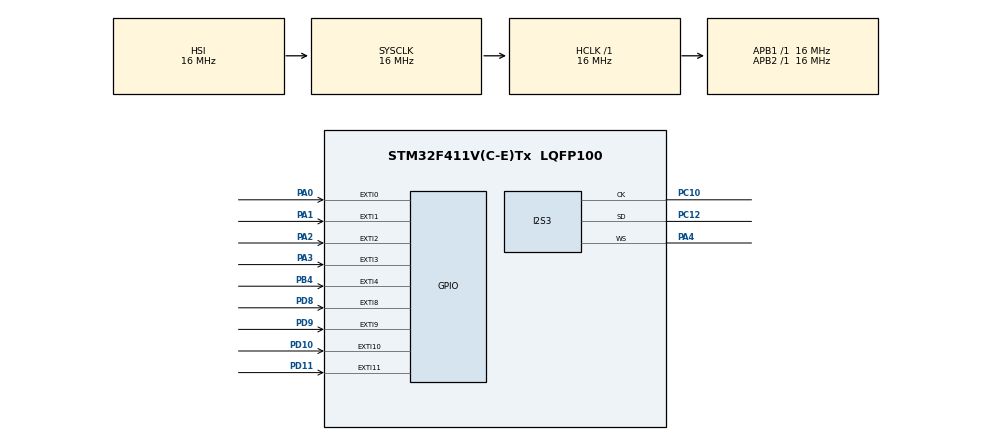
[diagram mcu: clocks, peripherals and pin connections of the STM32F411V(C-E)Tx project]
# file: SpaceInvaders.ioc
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Dma.MEMTOMEM.0.Direction=DMA_MEMORY_TO_MEMORY
Dma.MEMTOMEM.0.FIFOMode=DMA_FIFOMODE_ENABLE
Dma.MEMTOMEM.0.FIFOThreshold=DMA_FIFO_THRESHOLD_FULL
Dma.MEMTOMEM.0.Instance=DMA2_Stream0
Dma.MEMTOMEM.0.MemBurst=DMA_MBURST_SINGLE
Dma.MEMTOMEM.0.MemDataAlignment=DMA_MDATAALIGN_WORD
Dma.MEMTOMEM.0.MemInc=DMA_MINC_ENABLE
Dma.MEMTOMEM.0.Mode=DMA_NORMAL
Dma.MEMTOMEM.0.PeriphBurst=DMA_PBURST_SINGLE
Dma.MEMTOMEM.0.PeriphDataAlignment=DMA_PDATAALIGN_WORD
Dma.MEMTOMEM.0.PeriphInc=DMA_PINC_ENABLE
Dma.MEMTOMEM.0.Priority=DMA_PRIORITY_LOW
Dma.Request0=MEMTOMEM
Dma.Request1=SPI3_TX
Dma.SPI3_TX.1.Direction=DMA_MEMORY_TO_PERIPH
Dma.SPI3_TX.1.FIFOMode=DMA_FIFOMODE_DISABLE
Dma.SPI3_TX.1.Instance=DMA1_Stream5
Dma.SPI3_TX.1.MemDataAlignment=DMA_MDATAALIGN_HALFWORD
Dma.SPI3_TX.1.MemInc=DMA_MINC_ENABLE
Dma.SPI3_TX.1.Mode=DMA_NORMAL
Dma.SPI3_TX.1.PeriphDataAlignment=DMA_PDATAALIGN_HALFWORD
Dma.SPI3_TX.1.PeriphInc=DMA_PINC_DISABLE
Dma.SPI3_TX.1.Priority=DMA_PRIORITY_LOW
I2S3.ErrorAudioFreq=0.0 %
I2S3.FullDuplexMode=I2S_FULLDUPLEXMODE_DISABLE
I2S3.Instance=SPI$Index
I2S3.RealAudioFreq=8.0 KHz
I2S3.VirtualMode=I2S_MODE_MASTER
Mcu.Family=STM32F4
Mcu.Name=STM32F411V(C-E)Tx
Mcu.Package=LQFP100
NVIC.DMA1_Stream5_IRQn=true\:0\:0\:false\:false\:true\:false\:true
NVIC.DMA2_Stream0_IRQn=true\:0\:0\:false\:false\:true\:true\:true
NVIC.EXTI0_IRQn=true\:0\:0\:false\:false\:true\:true\:true
NVIC.EXTI15_10_IRQn=true\:0\:0\:false\:false\:true\:true\:true
NVIC.EXTI1_IRQn=true\:0\:0\:false\:false\:true\:true\:true
NVIC.EXTI2_IRQn=true\:0\:0\:false\:false\:true\:true\:true
NVIC.EXTI3_IRQn=true\:0\:0\:false\:false\:true\:true\:true
NVIC.EXTI4_IRQn=true\:0\:0\:false\:false\:true\:true\:true
NVIC.EXTI9_5_IRQn=true\:0\:0\:false\:false\:true\:true\:true
NVIC.PriorityGroup=NVIC_PRIORITYGROUP_4
PA0-WKUP.Signal=GPXTI0
PA1.Signal=GPXTI1
PA2.Signal=GPXTI2
PA3.Signal=GPXTI3
PA4.Mode=Half_Duplex_Master
PA4.Signal=I2S3_WS
PB4.Signal=GPXTI4
PC10.Mode=Half_Duplex_Master
PC10.Signal=I2S3_CK
PC12.Mode=Half_Duplex_Master
PC12.Signal=I2S3_SD
PD10.GPIO_ModeDefaultEXTI=GPIO_MODE_IT_RISING_FALLING
PD10.Signal=GPXTI10
PD11.GPIO_ModeDefaultEXTI=GPIO_MODE_IT_RISING_FALLING
PD11.Signal=GPXTI11
PD8.GPIO_ModeDefaultEXTI=GPIO_MODE_IT_RISING_FALLING
PD8.Signal=GPXTI8
PD9.GPIO_ModeDefaultEXTI=GPIO_MODE_IT_RISING_FALLING
PD9.Signal=GPXTI9
ProjectManager.HeapSize=0x200
ProjectManager.StackSize=0x400
ProjectManager.TargetToolchain=STM32CubeIDE
RCC.AHBFreq_Value=16000000
RCC.APB1Freq_Value=16000000
RCC.APB2Freq_Value=16000000
RCC.CortexFreq_Value=16000000
RCC.HSE_VALUE=25000000
RCC.HSI_VALUE=16000000
RCC.LSE_VALUE=32768
RCC.SYSCLKFreq_VALUE=16000000
RCC.VCOOutputFreq_Value=192000000
board=custom

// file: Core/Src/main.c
/* USER CODE BEGIN Header */
/**
 ******************************************************************************
 * @file           : main.c
 * @brief          : Main program body
 ******************************************************************************
 * @attention
 *
 * <h2><center>&copy; Copyright (c) 2020 STMicroelectronics.
 * All rights reserved.</center></h2>
 *
 * This software component is licensed by ST under BSD 3-Clause license,
 * the "License"; You may not use this file except in compliance with the
 * License. You may obtain a copy of the License at:
 *                        opensource.org/licenses/BSD-3-Clause
 *
 ******************************************************************************
 */
/* USER CODE END Header */

#include "main.h"

/* USER CODE BEGIN Includes */
#include "Sprites.h"
#include "images.h"
#include "audio.h"
#include <stdlib.h>
#include <time.h>

/* USER CODE END Includes */

I2S_HandleTypeDef hi2s3;
DMA_HandleTypeDef hdma_spi3_tx;

DMA_HandleTypeDef hdma_memtomem_dma2_stream0;

void SystemClock_Config(void);
static void MX_GPIO_Init(void);
static void MX_DMA_Init(void);
static void MX_I2S3_Init(void);

/* USER CODE BEGIN 0 */
volatile uint8_t refresh=0;
volatile uint8_t cleardone=0;

#define Screen_Start (unsigned char*)0x20020000

uint32_t *ptrsprite;

typedef struct Aliens
{

	int alienx;
	int alieny;
	int aoriginx;
	int aoriginy;
	int health;
	int amissilex;
	int amissiley;

} aliens;

aliens alien[24];

typedef struct Barriers
{

	int barrierx;
	int barriery;
	int boriginx;
	int boriginy;
	int health;

} barriers;

barriers barrierA[12];
barriers barrierB[12];
barriers barrierC[12];

typedef int Bool;

#define TRUE 1;
#define FALSE 0;

uint8_t sprites[1344];

uint8_t invaderX[24];
uint8_t invaderY[24];

int play=0;
int fire=0;
int amove = 3;
int lives=3;
int score=0;
int aliensize=24;

int cright=1;
int cleft=0;

int shot=0;
int bottom=0;
int ashot=0;

int Xpos = 160;
int Ypos = 195-23;
int Xposprev;
int Yposprev;

int invXpos=0;
int invYpos=0;
int Ylaserprev;

int amissx;
int amissy;

int ixprev=0;
int iyprev=0;
int nextrow=0;

int Xlaser;
int Ylaser;

Bool w = FALSE;
Bool a = FALSE;
Bool s = FALSE;
Bool d = FALSE;

void HAL_GPIO_EXTI_Callback(uint16_t GPIO_Pin)
{
	/* Prevent unused argument(s) compilation warning */
	UNUSED(GPIO_Pin);
	/* NOTE: This function Should not be modified, when the callback is needed,
           the HAL_GPIO_EXTI_Callback could be implemented in the user file
	 */

	if(GPIO_Pin == GPIO_PIN_3)
	{
		if(HAL_GPIO_ReadPin(GPIOA, GPIO_PIN_3)){
			play=1;
		}
	}

	if(GPIO_Pin == GPIO_PIN_0)
	{
		if(HAL_GPIO_ReadPin(GPIOA, GPIO_PIN_0)){
			fire=1;
		}
	}

	//d
	if(GPIO_Pin == GPIO_PIN_9)
	{
		if(HAL_GPIO_ReadPin(GPIOD, GPIO_PIN_9)){

			d=TRUE;
		}

		if(!HAL_GPIO_ReadPin(GPIOD, GPIO_PIN_9)){

			d=FALSE;
		}

	}

	//a
	if(GPIO_Pin == GPIO_PIN_10)
	{
		if(HAL_GPIO_ReadPin(GPIOD, GPIO_PIN_10)){

			a=TRUE;
		}

		if(!HAL_GPIO_ReadPin(GPIOD, GPIO_PIN_10)){

			a=FALSE;
		}
	}

}

/*uint8_t test3[] = {
0,0,0,0,1,1,1,1,0,0,0,0,
0,1,1,1,1,1,1,1,1,1,1,0,
1,1,1,1,1,1,1,1,1,1,1,1,
1,1,1,0,0,1,1,0,0,1,1,1,
1,1,1,1,1,1,1,1,1,1,1,1,
0,0,0,1,1,0,0,1,1,0,0,0,
0,0,1,1,0,1,1,0,1,1,0,0,
1,1,0,0,0,0,0,0,0,0,1,1
};*/

void displayscore(uint16_t val, uint32_t* screenptr)
{
	uint8_t digit = 0;
	uint32_t* digitptr;
	uint32_t* scrcopyptr;
	for (int i = 0; i < 5; i++)
	{
		digit = val % 10;
		val /= 10;

		scrcopyptr = screenptr;
		digitptr = (uint32_t*)(digits + (digit << 3));
		for (int i = 0; i < 9; i++)
		{
			for (int j = 0; j < 2; j++)
			{
				*scrcopyptr++ = *digitptr++;
			}
			digitptr += 18;
			scrcopyptr += 78;

		}
		screenptr -= 2;
	}
}

void drawSprite(unsigned char* ptr_sprite, int x, int y, int sprite_w, int sprite_h)
{
	uint32_t *ptrscreen;
	uint32_t *ptrsprite;

	//draw sprite
	ptrscreen = (uint32_t*)(0x20020000 + x+320*y);
	ptrsprite = (uint32_t*)ptr_sprite;
	for(int i = 0; i < sprite_h; i++)
	{
		for(int j = 0; j < sprite_w/4; j++)
		{
			*ptrscreen++ = *ptrsprite++;
		}
		ptrscreen += (320/4 - sprite_w/4);
	}
}

void clearSprite(unsigned char* ptr_sprite, int xprev, int yprev, int sprite_w, int sprite_h)
{
	uint32_t *ptrscreen;

	//clear sprite
	ptrscreen = (uint32_t*)(0x20020000 + xprev+320*yprev);

	for(int i = 0; i < sprite_h; i++)
	{
		for(int j = 0; j < sprite_w/4; j++)
		{
			*ptrscreen++ = 0;
		}
		ptrscreen += (320/4 - sprite_w/4);
	}
}

void  clearScreen(){
	cleardone=0;
	uint32_t* ptrscreen = (uint32_t*)0x20020000;
	*((uint32_t*)ptrscreen) = 0;

	HAL_DMA_Start_IT(&hdma_memtomem_dma2_stream0,0x20020000,0x20020004,15999);

	while(!cleardone);

}

void  updateScreen(){

	drawSprite(scoretext2, 5,1, 52, 13);
	displayscore(score, (uint32_t*)(0x2002069C));
	drawSprite(lives1, 200,1, 48, 13);
	displayscore(lives, (uint32_t*)(0x2002075B));

	drawSprite(shooter2, Xpos,Ypos, 24, 23);

}

void alienFire()
{
	int select;
	if (ashot==0)
	{

		ashot=1;

		do
		{
			select = 0 + (rand() % (24-0+1));
		}while(alien[select].health!=1);

		amissx=alien[select].alienx+2;
		amissy=alien[select].alieny;

	}

	if(ashot==1){

		amissy = amissy + 5;
		drawSprite(laser,amissx,amissy, 4, 8);
	}

	if(amissy>185)
	{
		ashot=0;
	}
}

void drawPixel(uint8_t* screenPtr, uint16_t x, uint16_t y, uint8_t colorIndex)
{
	uint8_t colorCodes[] = {48, 44, 41, 32};
	*(screenPtr+ y*320 + x) = colorCodes[colorIndex];
}

/* USER CODE END 0 */

int main(void)
{
	/* USER CODE BEGIN 1 */
	LDRSprites(sprites);

	/* USER CODE END 1 */

	/* MCU Configuration--------------------------------------------------------*/

	/* Reset of all peripherals, Initializes the Flash interface and the Systick. */
	HAL_Init();

	/* Configure the system clock */
	SystemClock_Config();

	/* Initialize all configured peripherals */
	MX_GPIO_Init();
	MX_DMA_Init();
	MX_I2S3_Init();
	/* USER CODE BEGIN 2 */

	srand(time(NULL));

	//create enemies

	for(int j = 0; j<24 ; j++){

		if(j<=5)
		{

			alien[j].alienx = 15 + j*20 ;
			alien[j].alieny = 20;
			alien[j].health=1;

		}
		if((6<=j)&&(j<=11))
		{
			alien[j].alienx = 15 + (j-6)*20 ;
			alien[j].alieny = 35;
			alien[j].health=1;

		}
		if((12<=j)&&(j<=17))
		{
			alien[j].alienx = 15 + (j-12)*20 ;
			alien[j].alieny = 50;
			alien[j].health=1;

		}
		if((18<=j)&&(j<=23))
		{
			alien[j].alienx = 15 + (j-18)*20 ;
			alien[j].alieny = 65;
			alien[j].health=1;

		}

	}

	//create bunkers

	//barrierA
	for (int j = 0; j < 12; j++)
	{

		if(j<=5)
		{
			barrierA[j].barrierx =55+j*4;
			barrierA[j].barriery =150;
			barrierA[j].health=2;
		}
		if ((6<=j)&&(j<=11))
		{
			barrierA[j].barrierx =55+(j-6)*4;
			barrierA[j].barriery =154;
			barrierA[j].health=2;
		}

	}

	//barrierB
	for (int j = 0; j < 12; j++)
	{

		if(j<=5)
		{
			barrierB[j].barrierx =160+j*4;
			barrierB[j].barriery =150;
			barrierB[j].health=2;
		}
		if ((6<=j)&&(j<=11))
		{
			barrierB[j].barrierx =160+(j-6)*4;
			barrierB[j].barriery =154;
			barrierB[j].health=2;
		}

	}

	//barrierC
	for (int j = 0; j < 12; j++)
	{

		if(j<=5)
		{
			barrierC[j].barrierx =265+j*4;
			barrierC[j].barriery =150;
			barrierC[j].health=2;
		}
		if ((6<=j)&&(j<=11))
		{
			barrierC[j].barrierx =265+(j-6)*4;
			barrierC[j].barriery =154;
			barrierC[j].health=2;
		}

	}

	while(!play)
	{
		drawSprite(background,0,0, 320, 200);
	}
	clearSprite(background,0,0, 320, 200);

	/* USER CODE END 2 */

	/* Infinite loop */
	/* USER CODE BEGIN WHILE */
	while (1)
	{

		if((!bottom)&&(alien!=0)&&(lives>0))
		{
			if(refresh)
			{
				clearScreen();
				updateScreen();

				refresh=0;

				//move ship
				if(a && (Xpos>0)){
					Xpos-=5;
				}

				if(d && (Xpos+24<315)){
					Xpos+=5;
				}

				//fire missile
				if(fire==1)
				{

					if(shot!=1){
						HAL_I2S_Transmit_DMA(&hi2s3, (uint16_t*)shootaudio, AUDIOLEN1);
						Xlaser=Xpos+10;
						Ylaser=Ypos;
						Ylaserprev=Ylaser;
						shot=1;
					}

					if(shot==1){

						Ylaser=Ylaser-5;
						drawSprite(laser, Xlaser,Ylaser, 4, 8);

						if(Ylaser<5){
							fire=0;
							shot=0;

						}
					}
				}

				alienFire();

				//collionTest();

				//draw barriers

				for (int j = 0; j < 12; j++)
				{

					if(barrierA[j].health!=0)
					{
						//test to see if player missile hits barrierA
						if((Xlaser-2<=barrierA[j].barrierx) && (Xlaser+2>=barrierA[j].barrierx) && (Ylaser-1<=barrierA[j].barriery) && (Ylaser+3>=barrierA[j].barriery))
						{

							barrierA[j].health-=1;

							fire=0;
							shot=0;
							Xlaser=0;
							Ylaser=0;

						}

						if(barrierA[j].health==2)
						{
							drawSprite(bunkerA,barrierA[j].barrierx,barrierA[j].barriery, 4, 4);

						}

						if(barrierA[j].health==1)
						{
							drawSprite(bunkerA2,barrierA[j].barrierx,barrierA[j].barriery, 4, 4);

						}

						//test if enemy missile hits barriers
						if((amissx-2<=barrierA[j].barrierx) && (barrierA[j].barrierx<=amissx+2) && (amissy-3<=barrierA[j].barriery) && (amissy+1>=barrierA[j].barriery))
						{
							barrierA[j].health-=1;
							ashot=0;
							amissx=0;
							amissy=0;
						}

					}

					//test to see if player missile hits barrierB
					if(barrierB[j].health!=0)
					{
						if((Xlaser-2<=barrierB[j].barrierx) && (Xlaser+2>=barrierB[j].barrierx) && (Ylaser-1<=barrierB[j].barriery) && (Ylaser+3>=barrierB[j].barriery))
						{

							barrierB[j].health-=1;

							fire=0;
							shot=0;
							Xlaser=0;
							Ylaser=0;

						}
						if(barrierB[j].health==2)
						{

							drawSprite(bunkerA,barrierB[j].barrierx,barrierB[j].barriery, 4, 4);

						}

						if(barrierB[j].health==1)
						{

							drawSprite(bunkerA2,barrierB[j].barrierx,barrierB[j].barriery, 4, 4);

						}

						//test if enemy missile hits barrierB
						if((amissx-2<=barrierB[j].barrierx) && (barrierB[j].barrierx<=amissx+2) && (amissy-3<=barrierB[j].barriery) && (amissy+1>=barrierB[j].barriery))
						{
							barrierB[j].health-=1;
							ashot=0;
							amissx=0;
							amissy=0;
						}
					}

					//test to see if player missile hits barrierC
					if(barrierC[j].health!=0)
					{
						if((Xlaser-2<=barrierC[j].barrierx) && (Xlaser+2>=barrierC[j].barrierx) && (Ylaser-1<=barrierC[j].barriery) && (Ylaser+3>=barrierC[j].barriery))
						{

							barrierC[j].health-=1;

							fire=0;
							shot=0;
							Xlaser=0;
							Ylaser=0;

						}
						if(barrierC[j].health==2)
						{

							drawSprite(bunkerA,barrierC[j].barrierx,barrierC[j].barriery, 4, 4);

						}

						if(barrierC[j].health==1)
						{

							drawSprite(bunkerA2,barrierC[j].barrierx,barrierC[j].barriery, 4, 4);

						}

						//test if enemy missile hits barrierB
						if((amissx-2<=barrierC[j].barrierx) && (barrierC[j].barrierx<=amissx+2) && (amissy-3<=barrierC[j].barriery) && (amissy+1>=barrierC[j].barriery))	  	 				  	 				  	 			{
							barrierC[j].health-=1;
							ashot=0;
							amissx=0;
							amissy=0;
						}
					}

				}

				//increment x and y aliens and collision test with sides
				for(int k = 0; k<24 ; k++)
				{
					if(alien[k].health!=0)
					{

						//test to see if player missile hits invader
						if((Xlaser-7<=alien[k].alienx) && (Xlaser+7>=alien[k].alienx) && (Ylaser-10<=alien[k].alieny) && (Ylaser+10>=alien[k].alieny))
						{

							alien[k].health=0;
							HAL_I2S_Transmit_DMA(&hi2s3, (uint16_t*)hitaudio, AUDIOLEN2);
							fire=0;
							shot=0;
							score+=10;
							Xlaser=0;
							Ylaser=0;
							aliensize--;
						}

						//tests to see if enemy missile hits player

						if((amissx-20<=Xpos) && (Xpos<=amissx+5) && (amissy-2<=Ypos) && (amissy+2>=Ypos))
						{
							ashot=0;
							amissx=0;
							amissy=0;
							lives=lives-1;
							drawSprite(shooterdead, Xpos,Ypos, 32, 31);
							HAL_Delay(15);

							if(lives>1){
								HAL_I2S_Transmit_DMA(&hi2s3, (uint16_t*)deadaudio, AUDIOLEN4);
							}
						}

						//test to see if invaders touch player
						if(alien[k].alieny+10>Ypos)
						{

							bottom=1;
							lives=0;

						}

						drawSprite(test3, alien[k].alienx,alien[k].alieny, 12, 8);

					}

				}

				int down = 0;
				for (int j = 0;j<24;j++)
				{

					if((alien[j].alienx+amove>305)||(alien[j].alienx+amove<10))
					{
						amove*=-1;
						down = 1;

						for(int i = 0; i<24 ; i++)
						{
							alien[i].alieny += 10;

						}
						break;
					}

				}
				if(down==0)
				{
					for(int i = 0; i<24 ; i++)
					{
						alien[i].alienx=alien[i].alienx + amove;

					}
				}

			}
		}

		if ((bottom==1)||(lives==0))
		{
			clearScreen();
			drawSprite(gameover,20,8, 280, 184);
			HAL_I2S_Transmit_DMA(&hi2s3, (uint16_t*)gameoveraudio, AUDIOLEN3);
			bottom=0;
			lives=-1;
		}

		/* USER CODE END WHILE */

	}
}

void SystemClock_Config(void)
{
	RCC_OscInitTypeDef RCC_OscInitStruct = {0};
	RCC_ClkInitTypeDef RCC_ClkInitStruct = {0};
	RCC_PeriphCLKInitTypeDef PeriphClkInitStruct = {0};

	/** Macro to configure the PLL multiplication factor
	 */
	__HAL_RCC_PLL_PLLM_CONFIG(16);
	/** Macro to configure the PLL clock source
	 */
	__HAL_RCC_PLL_PLLSOURCE_CONFIG(RCC_PLLSOURCE_HSI);
	/** Configure the main internal regulator output voltage
	 */
	__HAL_RCC_PWR_CLK_ENABLE();
	__HAL_PWR_VOLTAGESCALING_CONFIG(PWR_REGULATOR_VOLTAGE_SCALE1);
	/** Initializes the CPU, AHB and APB busses clocks
	 */
	RCC_OscInitStruct.OscillatorType = RCC_OSCILLATORTYPE_HSI;
	RCC_OscInitStruct.HSIState = RCC_HSI_ON;
	RCC_OscInitStruct.HSICalibrationValue = RCC_HSICALIBRATION_DEFAULT;
	RCC_OscInitStruct.PLL.PLLState = RCC_PLL_NONE;
	RCC_OscInitStruct.PLL.PLLSource = RCC_PLLSOURCE_HSI;
	if (HAL_RCC_OscConfig(&RCC_OscInitStruct) != HAL_OK)
	{
		Error_Handler();
	}
	/** Initializes the CPU, AHB and APB busses clocks
	 */
	RCC_ClkInitStruct.ClockType = RCC_CLOCKTYPE_HCLK|RCC_CLOCKTYPE_SYSCLK
			|RCC_CLOCKTYPE_PCLK1|RCC_CLOCKTYPE_PCLK2;
	RCC_ClkInitStruct.SYSCLKSource = RCC_SYSCLKSOURCE_HSI;
	RCC_ClkInitStruct.AHBCLKDivider = RCC_SYSCLK_DIV1;
	RCC_ClkInitStruct.APB1CLKDivider = RCC_HCLK_DIV1;
	RCC_ClkInitStruct.APB2CLKDivider = RCC_HCLK_DIV1;

	if (HAL_RCC_ClockConfig(&RCC_ClkInitStruct, FLASH_LATENCY_0) != HAL_OK)
	{
		Error_Handler();
	}
	PeriphClkInitStruct.PeriphClockSelection = RCC_PERIPHCLK_I2S;
	PeriphClkInitStruct.PLLI2S.PLLI2SN = 192;
	PeriphClkInitStruct.PLLI2S.PLLI2SM = 16;
	PeriphClkInitStruct.PLLI2S.PLLI2SR = 2;
	if (HAL_RCCEx_PeriphCLKConfig(&PeriphClkInitStruct) != HAL_OK)
	{
		Error_Handler();
	}
}

static void MX_I2S3_Init(void)
{

	hi2s3.Instance = SPI3;
	hi2s3.Init.Mode = I2S_MODE_MASTER_TX;
	hi2s3.Init.Standard = I2S_STANDARD_PHILIPS;
	hi2s3.Init.DataFormat = I2S_DATAFORMAT_16B;
	hi2s3.Init.MCLKOutput = I2S_MCLKOUTPUT_DISABLE;
	hi2s3.Init.AudioFreq = I2S_AUDIOFREQ_8K;
	hi2s3.Init.CPOL = I2S_CPOL_LOW;
	hi2s3.Init.ClockSource = I2S_CLOCK_PLL;
	hi2s3.Init.FullDuplexMode = I2S_FULLDUPLEXMODE_DISABLE;
	if (HAL_I2S_Init(&hi2s3) != HAL_OK)
	{
		Error_Handler();
	}

}

static void MX_DMA_Init(void)
{

	/* DMA controller clock enable */
	__HAL_RCC_DMA2_CLK_ENABLE();
	__HAL_RCC_DMA1_CLK_ENABLE();

	/* Configure DMA request hdma_memtomem_dma2_stream0 on DMA2_Stream0 */
	hdma_memtomem_dma2_stream0.Instance = DMA2_Stream0;
	hdma_memtomem_dma2_stream0.Init.Channel = DMA_CHANNEL_0;
	hdma_memtomem_dma2_stream0.Init.Direction = DMA_MEMORY_TO_MEMORY;
	hdma_memtomem_dma2_stream0.Init.PeriphInc = DMA_PINC_ENABLE;
	hdma_memtomem_dma2_stream0.Init.MemInc = DMA_MINC_ENABLE;
	hdma_memtomem_dma2_stream0.Init.PeriphDataAlignment = DMA_PDATAALIGN_WORD;
	hdma_memtomem_dma2_stream0.Init.MemDataAlignment = DMA_MDATAALIGN_WORD;
	hdma_memtomem_dma2_stream0.Init.Mode = DMA_NORMAL;
	hdma_memtomem_dma2_stream0.Init.Priority = DMA_PRIORITY_LOW;
	hdma_memtomem_dma2_stream0.Init.FIFOMode = DMA_FIFOMODE_ENABLE;
	hdma_memtomem_dma2_stream0.Init.FIFOThreshold = DMA_FIFO_THRESHOLD_FULL;
	hdma_memtomem_dma2_stream0.Init.MemBurst = DMA_MBURST_SINGLE;
	hdma_memtomem_dma2_stream0.Init.PeriphBurst = DMA_PBURST_SINGLE;
	if (HAL_DMA_Init(&hdma_memtomem_dma2_stream0) != HAL_OK)
	{
		Error_Handler( );
	}

	/* DMA interrupt init */
	/* DMA1_Stream5_IRQn interrupt configuration */
	HAL_NVIC_SetPriority(DMA1_Stream5_IRQn, 0, 0);
	HAL_NVIC_EnableIRQ(DMA1_Stream5_IRQn);
	/* DMA2_Stream0_IRQn interrupt configuration */
	HAL_NVIC_SetPriority(DMA2_Stream0_IRQn, 0, 0);
	HAL_NVIC_EnableIRQ(DMA2_Stream0_IRQn);

}

static void MX_GPIO_Init(void)
{
	GPIO_InitTypeDef GPIO_InitStruct = {0};

	/* GPIO Ports Clock Enable */
	__HAL_RCC_GPIOA_CLK_ENABLE();
	__HAL_RCC_GPIOD_CLK_ENABLE();
	__HAL_RCC_GPIOC_CLK_ENABLE();
	__HAL_RCC_GPIOB_CLK_ENABLE();

	/*Configure GPIO pins : PA0 PA1 PA2 PA3 */
	GPIO_InitStruct.Pin = GPIO_PIN_0|GPIO_PIN_1|GPIO_PIN_2|GPIO_PIN_3;
	GPIO_InitStruct.Mode = GPIO_MODE_IT_RISING;
	GPIO_InitStruct.Pull = GPIO_NOPULL;
	HAL_GPIO_Init(GPIOA, &GPIO_InitStruct);

	/*Configure GPIO pins : PD8 PD9 PD10 PD11 */
	GPIO_InitStruct.Pin = GPIO_PIN_8|GPIO_PIN_9|GPIO_PIN_10|GPIO_PIN_11;
	GPIO_InitStruct.Mode = GPIO_MODE_IT_RISING_FALLING;
	GPIO_InitStruct.Pull = GPIO_NOPULL;
	HAL_GPIO_Init(GPIOD, &GPIO_InitStruct);

	/*Configure GPIO pin : PB4 */
	GPIO_InitStruct.Pin = GPIO_PIN_4;
	GPIO_InitStruct.Mode = GPIO_MODE_IT_RISING;
	GPIO_InitStruct.Pull = GPIO_NOPULL;
	HAL_GPIO_Init(GPIOB, &GPIO_InitStruct);

	/* EXTI interrupt init*/
	HAL_NVIC_SetPriority(EXTI0_IRQn, 0, 0);
	HAL_NVIC_EnableIRQ(EXTI0_IRQn);

	HAL_NVIC_SetPriority(EXTI1_IRQn, 0, 0);
	HAL_NVIC_EnableIRQ(EXTI1_IRQn);

	HAL_NVIC_SetPriority(EXTI2_IRQn, 0, 0);
	HAL_NVIC_EnableIRQ(EXTI2_IRQn);

	HAL_NVIC_SetPriority(EXTI3_IRQn, 0, 0);
	HAL_NVIC_EnableIRQ(EXTI3_IRQn);

	HAL_NVIC_SetPriority(EXTI4_IRQn, 0, 0);
	HAL_NVIC_EnableIRQ(EXTI4_IRQn);

	HAL_NVIC_SetPriority(EXTI9_5_IRQn, 0, 0);
	HAL_NVIC_EnableIRQ(EXTI9_5_IRQn);

	HAL_NVIC_SetPriority(EXTI15_10_IRQn, 0, 0);
	HAL_NVIC_EnableIRQ(EXTI15_10_IRQn);

}

void Error_Handler(void)
{
}

/************************ (C) COPYRIGHT STMicroelectronics *****END OF FILE****/
